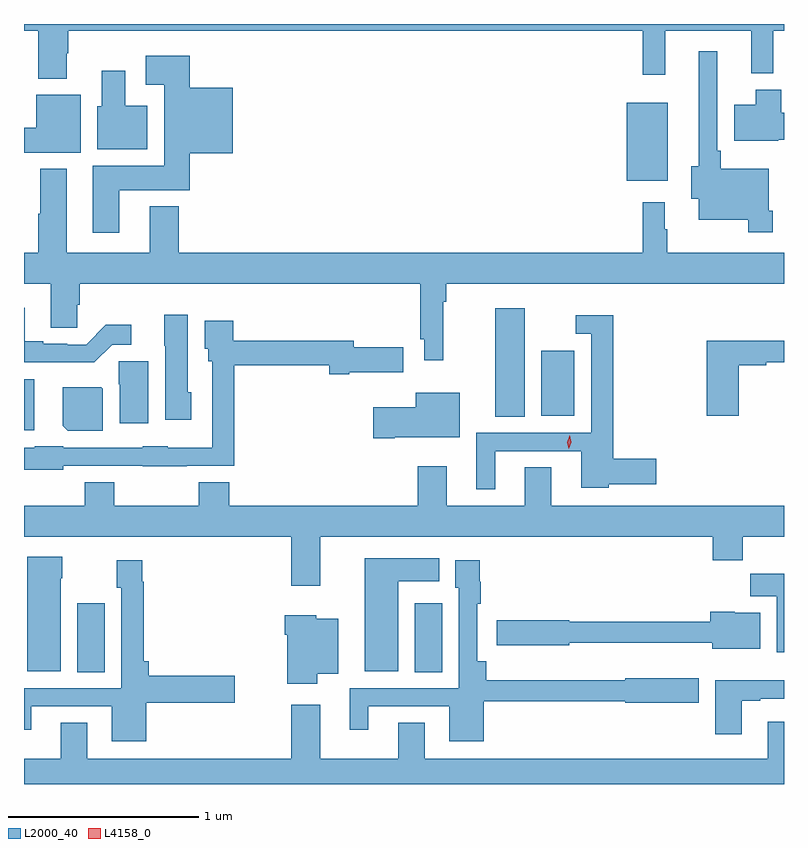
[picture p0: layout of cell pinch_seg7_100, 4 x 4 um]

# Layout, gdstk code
import gdstk
lib = gdstk.Library(unit=1e-6, precision=1e-09)
def R(c, l, rs):  # rectangles x0, y0, x1, y1
    for r in rs: c.add(gdstk.rectangle(r[:2], r[2:], *l))
def P(c, l, *ps):  # polygons
    for p in ps: c.add(gdstk.Polygon(p, *l))
L2000_40 = (2000, 40)
L4158_0 = (4158, 0)

pinch_seg7_100 = lib.new_cell('pinch_seg7_100')
R(pinch_seg7_100, L2000_40, [(902.39,1015.888,902.533,1016.251), (904.166,1015.888,904.309,1016.251), (902.109,1017.161,902.164,1017.43), (904.589,1017.232,904.744,1017.802), (904.832,1017.236,905.005,1017.58), (905.282,1018.475,905.497,1018.885)])
P(pinch_seg7_100, L2000_40, [(902.109,1019.264),(902.183,1019.264),(902.183,1019.012),(902.335,1019.012),(902.335,1019.144),(902.343,1019.144),(902.343,1019.264),(905.365,1019.264),(905.365,1019.031),(905.483,1019.031),(905.483,1019.264),(905.936,1019.264),(905.936,1019.039),(906.053,1019.039),(906.053,1019.264),(906.109,1019.264),(906.109,1019.299),(902.109,1019.299)],
  [(906.05,1018.315),(906.03,1018.315),(906.03,1018.537),(905.777,1018.537),(905.777,1018.633),(905.757,1018.633),(905.757,1019.155),(905.66,1019.155),(905.66,1018.55),(905.621,1018.55),(905.621,1018.379),(905.66,1018.379),(905.66,1018.268),(905.922,1018.268),(905.922,1018.203),(906.05,1018.203)],
  [(902.611,1018.424),(902.981,1018.424),(902.981,1018.619),(903.208,1018.619),(903.208,1018.963),(902.981,1018.963),(902.981,1019.131),(902.751,1019.131),(902.751,1018.979),(902.846,1018.979),(902.846,1018.552),(902.471,1018.552),(902.471,1018.2),(902.611,1018.2)],
  [(902.758,1018.87),(902.641,1018.87),(902.641,1019.053),(902.519,1019.053),(902.519,1018.866),(902.495,1018.866),(902.495,1018.64),(902.758,1018.64)],
  [(906.078,1018.691),(906.109,1018.691),(906.109,1018.833),(906.095,1018.833),(906.095,1018.954),(905.96,1018.954),(905.96,1018.873),(905.846,1018.873),(905.846,1018.685),(906.078,1018.685)],
  [(902.407,1018.927),(902.174,1018.927),(902.174,1018.754),(902.109,1018.754),(902.109,1018.622),(902.407,1018.622)],
  [(904.316,1017.836),(904.331,1017.836),(904.331,1017.932),(906.109,1017.932),(906.109,1018.096),(905.494,1018.096),(905.494,1018.22),(905.482,1018.22),(905.482,1018.36),(905.365,1018.36),(905.365,1018.096),(902.924,1018.096),(902.924,1018.339),(902.771,1018.339),(902.771,1018.096),(902.335,1018.096),(902.335,1018.537),(902.195,1018.537),(902.195,1018.301),(902.183,1018.301),(902.183,1018.096),(902.109,1018.096),(902.109,1017.932),(902.249,1017.932),(902.249,1017.7),(902.388,1017.7),(902.388,1017.822),(902.402,1017.822),(902.402,1017.932),(904.195,1017.932),(904.195,1017.64),(904.215,1017.64),(904.215,1017.528),(904.316,1017.528)],
  [(902.574,1017.612),(902.674,1017.612),(902.674,1017.715),(902.539,1017.715),(902.436,1017.612),(902.336,1017.612),(902.336,1017.615),(902.209,1017.615),(902.209,1017.628),(902.113,1017.628),(902.113,1017.805),(902.109,1017.805),(902.109,1017.518),(902.479,1017.518)],
  [(902.989,1017.36),(902.971,1017.36),(902.971,1017.769),(902.846,1017.769),(902.846,1017.606),(902.852,1017.606),(902.852,1017.216),(902.989,1017.216)],
  [(904.588,1017.051),(905.042,1017.051),(905.042,1016.858),(905.187,1016.858),(905.187,1016.876),(905.437,1016.876),(905.437,1017.011),(905.21,1017.011),(905.21,1017.766),(905.013,1017.766),(905.013,1017.669),(905.094,1017.669),(905.094,1017.147),(904.49,1017.147),(904.49,1016.85),(904.588,1016.85)],
  [(902.316,1016.973),(902.733,1016.973),(902.733,1016.972),(902.965,1016.972),(902.965,1016.973),(903.215,1016.973),(903.215,1017.502),(903.716,1017.502),(903.716,1017.455),(903.82,1017.455),(903.82,1017.467),(904.105,1017.467),(904.105,1017.597),(903.844,1017.597),(903.844,1017.631),(903.209,1017.631),(903.209,1017.736),(903.059,1017.736),(903.059,1017.591),(903.08,1017.591),(903.08,1017.525),(903.099,1017.525),(903.099,1017.07),(902.865,1017.07),(902.865,1017.076),(902.733,1017.076),(902.733,1017.069),(902.316,1017.069),(902.316,1017.076),(902.166,1017.076),(902.166,1017.07),(902.109,1017.07),(902.109,1016.954),(902.316,1016.954)],
  [(905.872,1017.502),(906.015,1017.502),(906.015,1017.52),(906.109,1017.52),(906.109,1017.631),(905.702,1017.631),(905.702,1017.237),(905.872,1017.237)],
  [(902.764,1017.525),(902.608,1017.525),(902.608,1017.402),(902.612,1017.402),(902.612,1017.198),(902.764,1017.198)],
  [(902.524,1017.38),(902.516,1017.388),(902.312,1017.388),(902.312,1017.184),(902.338,1017.158),(902.524,1017.158)],
  [(904.06,1017.125),(904.402,1017.125),(904.402,1017.358),(904.172,1017.358),(904.172,1017.283),(903.948,1017.283),(903.948,1017.118),(904.06,1017.118)],
  [(903.667,1016.6),(905.735,1016.6),(905.735,1016.476),(905.891,1016.476),(905.891,1016.6),(906.109,1016.6),(906.109,1016.764),(904.885,1016.764),(904.885,1016.966),(904.745,1016.966),(904.745,1016.764),(904.333,1016.764),(904.333,1016.971),(904.181,1016.971),(904.181,1016.764),(903.188,1016.764),(903.188,1016.888),(903.028,1016.888),(903.028,1016.764),(902.583,1016.764),(902.583,1016.888),(902.428,1016.888),(902.428,1016.764),(902.109,1016.764),(902.109,1016.6),(903.515,1016.6),(903.515,1016.343),(903.667,1016.343)],
  [(902.302,1016.381),(902.31,1016.381),(902.31,1016.494),(902.126,1016.494),(902.126,1015.892),(902.302,1015.892)],
  [(904.078,1016.366),(904.294,1016.366),(904.294,1016.488),(903.902,1016.488),(903.902,1015.892),(904.078,1015.892)],
  [(904.528,1015.734),(905.274,1015.734),(905.274,1015.726),(905.659,1015.726),(905.659,1015.855),(905.274,1015.855),(905.274,1015.844),(904.541,1015.844),(904.541,1015.945),(904.494,1015.945),(904.494,1016.248),(904.514,1016.248),(904.514,1016.363),(904.507,1016.363),(904.507,1016.476),(904.379,1016.476),(904.379,1016.331),(904.398,1016.331),(904.398,1015.803),(903.824,1015.803),(903.824,1015.584),(903.922,1015.584),(903.922,1015.707),(904.346,1015.707),(904.346,1015.523),(904.528,1015.523)],
  [(902.752,1015.726),(903.217,1015.726),(903.217,1015.868),(902.765,1015.868),(902.765,1015.945),(902.738,1015.945),(902.738,1016.363),(902.731,1016.363),(902.731,1016.476),(902.596,1016.476),(902.596,1016.331),(902.622,1016.331),(902.622,1015.803),(902.109,1015.803),(902.109,1015.584),(902.146,1015.584),(902.146,1015.707),(902.57,1015.707),(902.57,1015.523),(902.752,1015.523)],
  [(906.109,1016.406),(905.932,1016.406),(905.932,1016.288),(906.071,1016.288),(906.071,1015.992),(906.109,1015.992)],
  [(905.983,1016.2),(905.85,1016.2),(905.85,1016.206),(905.72,1016.206),(905.72,1016.152),(904.98,1016.152),(904.98,1016.16),(904.596,1016.16),(904.596,1016.03),(904.98,1016.03),(904.98,1016.042),(905.732,1016.042),(905.732,1016.012),(905.983,1016.012)],
  [(903.652,1015.88),(903.763,1015.88),(903.763,1016.17),(903.648,1016.17),(903.648,1016.188),(903.482,1016.188),(903.482,1016.084),(903.494,1016.084),(903.494,1015.826),(903.652,1015.826)],
  [(905.887,1015.737),(905.983,1015.737),(905.983,1015.749),(906.109,1015.749),(906.109,1015.846),(905.747,1015.846),(905.747,1015.56),(905.887,1015.56)],
  [(904.079,1015.432),(903.667,1015.432),(903.667,1015.717),(903.515,1015.717),(903.515,1015.432),(902.443,1015.432),(902.443,1015.622),(902.303,1015.622),(902.303,1015.432),(902.109,1015.432),(902.109,1015.299),(906.109,1015.299),(906.109,1015.627),(906.023,1015.627),(906.023,1015.432),(904.219,1015.432),(904.219,1015.622),(904.079,1015.622)])
P(pinch_seg7_100, L4158_0, [(904.976,1017.063),(904.976,1017.063),(904.968,1017.099),(904.981,1017.135),(904.981,1017.135),(904.981,1017.135),(904.988,1017.098),(904.976,1017.063)])

lib.write_gds('pinch_seg7_100.gds')
